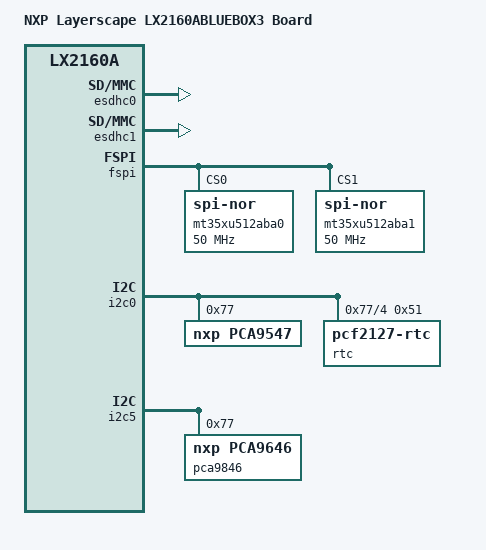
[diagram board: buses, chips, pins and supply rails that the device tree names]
// SPDX-License-Identifier: GPL-2.0+ OR X11
/*
 * NXP LX2160A BLUEBOX3 device tree source
 *
 * Copyright 2020 NXP
 *
 */

/dts-v1/;

#include "fsl-lx2160a.dtsi"

/ {
	model = "NXP Layerscape LX2160ABLUEBOX3 Board";
	compatible = "fsl,lx2160ardb", "fsl,lx2160a";
	aliases {
		spi0 = &fspi;
	};
};

&esdhc0 {
	status = "okay";
};

&esdhc1 {
	status = "okay";
	mmc-hs200-1_8v;
};

&usb1 {
	status = "disabled";
};

&fspi {
	status = "okay";

	mt35xu512aba0: flash@0 {
		#address-cells = <1>;
		#size-cells = <1>;
		compatible = "jedec,spi-nor";
		spi-max-frequency = <50000000>;
		reg = <0>;
		spi-rx-bus-width = <8>;
		spi-tx-bus-width = <1>;
	};

	mt35xu512aba1: flash@1 {
		#address-cells = <1>;
		#size-cells = <1>;
		compatible = "jedec,spi-nor";
		spi-max-frequency = <50000000>;
		reg = <1>;
		spi-rx-bus-width = <8>;
		spi-tx-bus-width = <1>;
	};
};

&i2c0 {
	status = "okay";
	u-boot,dm-pre-reloc;

	pca9547@77 {
		compatible = "nxp,pca9547";
		reg = <0x77>;
		#address-cells = <1>;
		#size-cells = <0>;

		 i2c@4 {
			#address-cells = <1>;
			#size-cells = <0>;
			reg = <0x4>;

			rtc@51 {
				compatible = "pcf2127-rtc";
				reg = <0x51>;
			};
		};
	};
};

&i2c5 {
	status = "okay";

	pca9846@77 {
		compatible = "nxp,pca9646";
		reg = <0x77>;
		#address-cells = <1>;
		#size-cells = <0>;
	};
};
